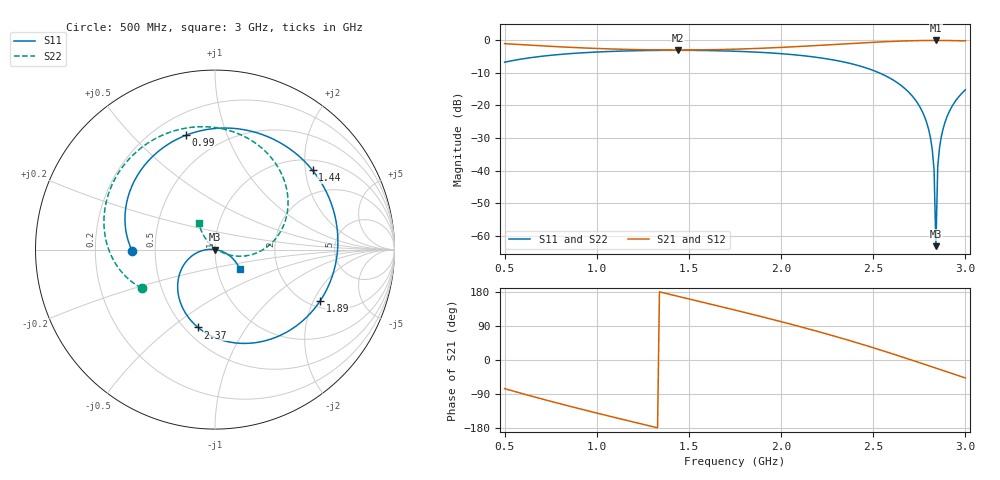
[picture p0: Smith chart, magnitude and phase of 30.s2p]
!freq-unit  param-type  data-format  keyword  impedance-ohms
# GHZ  S  RI  R  50
!Freq  ReS11  ImS11  ReS21  ImS21  ReS12  ImS12  ReS22  ImS22
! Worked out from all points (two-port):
!   251 points, 500 MHz to 3 GHz, reference 50 ohm
!   highest |S21| = -0.07 dB at 2.84 GHz (marker M1); lowest = -3.0 dB at 1.44 GHz (marker M2)
!   |S21| within 3 dB of the highest: start of sweep to end of sweep
!   lowest |S11| = -63.1 dB at 2.84 GHz (marker M3), VSWR 1.00, Z = 50.1 + j0.00255 ohm
!   |S11| at or under -10 dB: 2.532 GHz to end of sweep
!   |S22| runs from -43.6 to -3.1 dB; largest |S21 - S12| = 0
!   S11 on the Smith chart (normalised r, x): 500 MHz: 0.37, -0.01; 990 MHz: 0.32, +0.72; 1.44 GHz: 1.26, +2.19; 1.89 GHz: 2.25, -2.25; 2.37 GHz: 0.58, -0.63; 3 GHz: 1.28, -0.28
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0.5  -0.4606 -0.00799  0.2205 -0.8569  0.2205 -0.8569  -0.4084 -0.2142
0.7  -0.484 0.2953  -0.178 -0.8006  -0.178 -0.8006  -0.5644 -0.0611
0.92  -0.2691 0.5817  -0.4936 -0.582  -0.4936 -0.582  -0.6184 0.1719
0.99  -0.1632 0.6366  -0.5639 -0.4931  -0.5639 -0.4931  -0.6097 0.2479
1.16  0.1256 0.6733  -0.6758 -0.258  -0.6758 -0.258  -0.5427 0.4197
1.34  0.4162 0.5615  -0.7094 0.0021  -0.7094 0.0021  -0.4133 0.5651
1.44  0.5436 0.4419  -0.6926 0.1447  -0.6926 0.1447  -0.3219 0.6237
1.75  0.6745 -0.0663  -0.4857 0.5429  -0.4857 0.5429  0.00769 0.6792
1.89  0.5843 -0.2882  -0.3164 0.6817  -0.3164 0.6817  0.1556 0.6342
2.17  0.197 -0.5216  0.1538 0.8082  0.1538 0.8082  0.3734 0.416
2.37  -0.094 -0.434  0.5523 0.6958  0.5523 0.6958  0.4005 0.1946
2.59  -0.2045 -0.1653  0.9071 0.3046  0.9071 0.3046  0.2637 -0.00281
2.72  -0.1263 -0.0335  0.9826 -0.0351  0.9826 -0.0351  0.1259 -0.0367
2.77  -0.0761 -0.00719  0.9734 -0.1737  0.9734 -0.1737  0.0719 -0.0275
2.8  -0.0435 0.000265  0.9571 -0.256  0.9571 -0.256  0.0411 -0.016
2.82  -0.0214 0.00161  0.9417 -0.31  0.9417 -0.31  0.0216 -0.00603
2.83  -0.0103 0.00118  0.9326 -0.3367  0.9326 -0.3367  0.0123 -0.000351
2.84  0.000695 2.55e-05  0.9228 -0.363  0.9228 -0.363  0.00321 0.00576
2.85  0.0116 -0.00186  0.912 -0.389  0.912 -0.389  -0.00556 0.0123
2.87  0.0329 -0.00776  0.888 -0.4398  0.888 -0.4398  -0.0221 0.0266
2.92  0.0817 -0.0344  0.8143 -0.5586  0.8143 -0.5586  -0.057 0.0685
3  0.1369 -0.1069  0.6616 -0.7176  0.6616 -0.7176  -0.0904 0.1492
